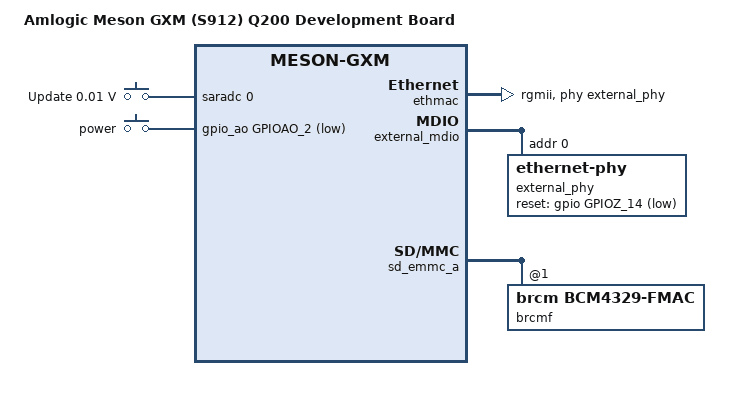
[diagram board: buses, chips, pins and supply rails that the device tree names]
// SPDX-License-Identifier: (GPL-2.0+ OR MIT)
/*
 * Copyright (c) 2016 Endless Computers, Inc.
 * Author: Carlo Caione <carlo@endlessm.com>
 */

/dts-v1/;

#include <dt-bindings/input/input.h>

#include "meson-gxm.dtsi"
#include "meson-gx-p23x-q20x.dtsi"

/ {
	compatible = "amlogic,q200", "amlogic,s912", "amlogic,meson-gxm";
	model = "Amlogic Meson GXM (S912) Q200 Development Board";

	adc-keys {
		compatible = "adc-keys";
		io-channels = <&saradc 0>;
		io-channel-names = "buttons";
		keyup-threshold-microvolt = <1710000>;

		button-function {
			label = "Update";
			linux,code = <KEY_VENDOR>;
			press-threshold-microvolt = <10000>;
		};
	};

	gpio-keys-polled {
		compatible = "gpio-keys-polled";
		#address-cells = <1>;
		#size-cells = <0>;
		poll-interval = <100>;

		button@0 {
			label = "power";
			linux,code = <KEY_POWER>;
			gpios = <&gpio_ao GPIOAO_2 GPIO_ACTIVE_LOW>;
		};
	};
};

/* Q200 has exclusive choice between internal or external PHY */
&ethmac {
	pinctrl-0 = <&eth_pins>;
	pinctrl-names = "default";

	/* Select external PHY by default */
	phy-handle = <&external_phy>;

	amlogic,tx-delay-ns = <2>;

	/* External PHY is in RGMII */
	phy-mode = "rgmii";
};

&external_mdio {
	external_phy: ethernet-phy@0 {
		/* Realtek RTL8211F (0x001cc916) */
		reg = <0>;
		max-speed = <1000>;

		/* External PHY reset is shared with internal PHY Led signal */
		reset-assert-us = <10000>;
		reset-deassert-us = <30000>;
		reset-gpios = <&gpio GPIOZ_14 GPIO_ACTIVE_LOW>;

		interrupt-parent = <&gpio_intc>;
		/* MAC_INTR on GPIOZ_15 */
		interrupts = <25 IRQ_TYPE_LEVEL_LOW>;
	};
};

&sd_emmc_a {
	brcmf: wifi@1 {
		reg = <1>;
		compatible = "brcm,bcm4329-fmac";
	};
};
